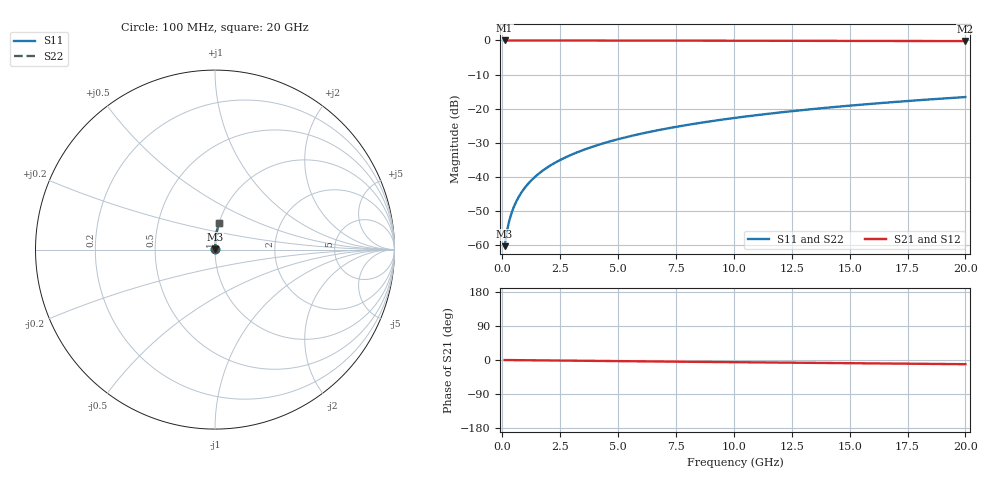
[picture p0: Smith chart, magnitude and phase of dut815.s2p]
! Touchstone file exported from HFSS 2024.1.0
!  File:  C:/UserFiles/LocalFiles/RDL_TSV_Batchsim/temp_RDL_bottom_815_1779862520.aedt
!  Generated:  02:17:58 PM May 27, 2026
!  Design:  RDL_bottom
!  Project:  temp_RDL_bottom_815_1779862520
!  Setup:  Setup1
!  Solution:  Sweep
! Variables:
!  dtsv = 10.80580581um
!  hbump = 3um
!  htsv = 59.18um
!  ldown = 103.1um
!  lrdl = 100um
!  p = 40
!  p1 = 55.84um
!  rhole = 1um
!  t = 450um
!  tdown = 4.62um
!  trdl = 3.915915916um
!  wdown = 16.66um
!  wrdl = 20um
# GHz S MA R 50.000000
! Terminal data exported
! Port[1] = RDL1_T1
! Port[2] = RDL1_T2
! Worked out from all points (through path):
!   200 points, 100 MHz to 20 GHz, reference 50 ohm
!   highest |S21| = -0.01 dB at 100 MHz (marker M1); lowest = -0.2 dB at 20 GHz (marker M2)
!   group delay of S21, straight-line fit = 1.53 ps
!   lowest |S11| = -60.4 dB at 100 MHz (marker M3), VSWR 1.00, Z = 50.1 + j0.0733 ohm
!   |S11| at or under -10 dB: start of sweep to end of sweep
!   |S22| runs from -60.4 to -16.6 dB; largest |S21 - S12| = 2.2e-15
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0.1  0.0009599 49.7  0.9994 -0.1  0.9994 -0.1  0.0009599 49.7
! Gamma 0 0 0 0
! Port Impedance 50 0 50 0
0.2  0.001587 66.2  0.9994 -0.1  0.9994 -0.1  0.001587 66.2
0.3  0.002258 72.9  0.9993 -0.2  0.9993 -0.2  0.002258 72.9
0.4  0.00294 76.7  0.9993 -0.2  0.9993 -0.2  0.00294 76.7
0.5  0.003625 79.0  0.9993 -0.3  0.9993 -0.3  0.003625 79.0
0.7  0.005005 81.9  0.9992 -0.4  0.9992 -0.4  0.005005 81.9
0.8  0.005699 82.8  0.9992 -0.5  0.9992 -0.5  0.005699 82.8
1  0.00709 84.1  0.9991 -0.6  0.9991 -0.6  0.00709 84.1
1.2  0.008487 85.1  0.9991 -0.7  0.9991 -0.7  0.008487 85.1
1.4  0.009887 85.7  0.999 -0.9  0.999 -0.9  0.009887 85.7
1.7  0.01199 86.4  0.9989 -1.0  0.9989 -1.0  0.01199 86.4
2  0.01411 86.9  0.9987 -1.2  0.9987 -1.2  0.01411 86.9
2.7  0.01906 87.5  0.9982 -1.6  0.9982 -1.6  0.01906 87.5
3.5  0.02476 87.8  0.9976 -2.1  0.9976 -2.1  0.02476 87.8
4.2  0.02978 88.0  0.997 -2.5  0.997 -2.5  0.02978 88.0
5  0.03558 88.0  0.9962 -3.0  0.9962 -3.0  0.03558 88.0
6.8  0.04879 87.7  0.9942 -4.0  0.9942 -4.0  0.04879 87.7
8.3  0.05997 87.2  0.9925 -4.8  0.9925 -4.8  0.05996 87.2
10.1  0.0735 86.4  0.9904 -5.8  0.9904 -5.8  0.0735 86.4
13.4  0.09844 84.7  0.9865 -7.6  0.9865 -7.6  0.09844 84.7
16.7  0.1233 82.9  0.9824 -9.3  0.9824 -9.3  0.1233 82.9
20  0.1478 81.0  0.978 -11.1  0.978 -11.1  0.1478 81.0
